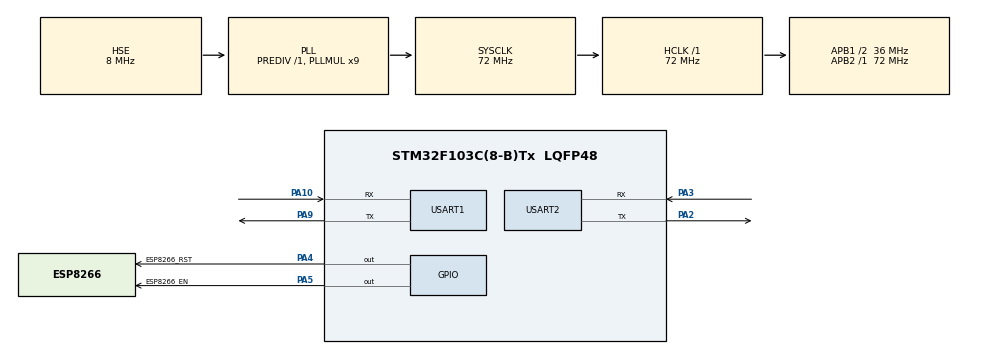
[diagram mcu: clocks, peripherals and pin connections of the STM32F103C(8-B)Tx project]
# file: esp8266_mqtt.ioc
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Dma.Request0=USART2_RX
Dma.Request1=USART2_TX
Dma.USART2_RX.0.Direction=DMA_PERIPH_TO_MEMORY
Dma.USART2_RX.0.Instance=DMA1_Channel6
Dma.USART2_RX.0.MemDataAlignment=DMA_MDATAALIGN_BYTE
Dma.USART2_RX.0.MemInc=DMA_MINC_ENABLE
Dma.USART2_RX.0.Mode=DMA_CIRCULAR
Dma.USART2_RX.0.PeriphDataAlignment=DMA_PDATAALIGN_BYTE
Dma.USART2_RX.0.PeriphInc=DMA_PINC_DISABLE
Dma.USART2_RX.0.Priority=DMA_PRIORITY_LOW
Dma.USART2_TX.1.Direction=DMA_MEMORY_TO_PERIPH
Dma.USART2_TX.1.Instance=DMA1_Channel7
Dma.USART2_TX.1.MemDataAlignment=DMA_MDATAALIGN_BYTE
Dma.USART2_TX.1.MemInc=DMA_MINC_ENABLE
Dma.USART2_TX.1.Mode=DMA_NORMAL
Dma.USART2_TX.1.PeriphDataAlignment=DMA_PDATAALIGN_BYTE
Dma.USART2_TX.1.PeriphInc=DMA_PINC_DISABLE
Dma.USART2_TX.1.Priority=DMA_PRIORITY_LOW
Mcu.Family=STM32F1
Mcu.Name=STM32F103C(8-B)Tx
Mcu.Package=LQFP48
NVIC.DMA1_Channel6_IRQn=true\:0\:0\:false\:false\:true\:false\:true\:true
NVIC.DMA1_Channel7_IRQn=true\:0\:0\:false\:false\:true\:false\:true\:true
NVIC.PriorityGroup=NVIC_PRIORITYGROUP_4
NVIC.USART2_IRQn=true\:0\:0\:false\:false\:true\:false\:true\:true
PA10.Mode=Asynchronous
PA10.Signal=USART1_RX
PA13.Mode=Serial_Wire
PA13.Signal=SYS_JTMS-SWDIO
PA14.Mode=Serial_Wire
PA14.Signal=SYS_JTCK-SWCLK
PA2.Mode=Asynchronous
PA2.Signal=USART2_TX
PA3.Mode=Asynchronous
PA3.Signal=USART2_RX
PA4.GPIO_Label=ESP8266_RST
PA4.GPIO_ModeDefaultOutputPP=GPIO_MODE_OUTPUT_OD
PA4.GPIO_PuPd=GPIO_PULLUP
PA4.PinState=GPIO_PIN_SET
PA4.Signal=GPIO_Output
PA5.GPIO_Label=ESP8266_EN
PA5.PinState=GPIO_PIN_SET
PA5.Signal=GPIO_Output
PA9.Mode=Asynchronous
PA9.Signal=USART1_TX
PC14-OSC32_IN.Mode=LSE-External-Oscillator
PC14-OSC32_IN.Signal=RCC_OSC32_IN
PC15-OSC32_OUT.Mode=LSE-External-Oscillator
PC15-OSC32_OUT.Signal=RCC_OSC32_OUT
PD0-OSC_IN.Mode=HSE-External-Oscillator
PD0-OSC_IN.Signal=RCC_OSC_IN
PD1-OSC_OUT.Mode=HSE-External-Oscillator
PD1-OSC_OUT.Signal=RCC_OSC_OUT
ProjectManager.HeapSize=0x200
ProjectManager.StackSize=0x400
ProjectManager.TargetToolchain=CMake
RCC.AHBFreq_Value=72000000
RCC.APB1CLKDivider=RCC_HCLK_DIV2
RCC.APB1Freq_Value=36000000
RCC.APB1TimFreq_Value=72000000
RCC.APB2Freq_Value=72000000
RCC.APB2TimFreq_Value=72000000
RCC.HCLKFreq_Value=72000000
RCC.PLLMUL=RCC_PLL_MUL9
RCC.PLLSourceVirtual=RCC_PLLSOURCE_HSE
RCC.SYSCLKFreq_VALUE=72000000
RCC.SYSCLKSource=RCC_SYSCLKSOURCE_PLLCLK
RCC.USBFreq_Value=72000000
USART1.VirtualMode=VM_ASYNC
USART2.VirtualMode=VM_ASYNC
board=custom

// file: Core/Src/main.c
/* USER CODE BEGIN Header */
/**
  ******************************************************************************
  * @file           : main.c
  * @brief          : Main program body
  ******************************************************************************
  * @attention
  *
  * Copyright (c) 2026 STMicroelectronics.
  * All rights reserved.
  *
  * This software is licensed under terms that can be found in the LICENSE file
  * in the root directory of this software component.
  * If no LICENSE file comes with this software, it is provided AS-IS.
  *
  ******************************************************************************
  */
/* USER CODE END Header */
#include "main.h"
#include "dma.h"
#include "usart.h"
#include "gpio.h"

/* USER CODE BEGIN Includes */
#include "stdio.h"
#include "usart_ring.h"
#include "esp8266_mqtt.h"
/* USER CODE END Includes */

void SystemClock_Config(void);

/* USER CODE BEGIN 0 */
USART_RING_S usart2_ring;
static uint8_t rx_buf[512];
static uint8_t tx_buf[256];

int _write(int file, char *ptr, int len)
{
  HAL_UART_Transmit(&huart1, (uint8_t*)ptr, len, HAL_MAX_DELAY);
  return len;
}
/* USER CODE END 0 */

int main(void)
{

  /* MCU Configuration--------------------------------------------------------*/

  /* Reset of all peripherals, Initializes the Flash interface and the Systick. */
  HAL_Init();

  /* Configure the system clock */
  SystemClock_Config();

  /* Initialize all configured peripherals */
  MX_GPIO_Init();
  MX_DMA_Init();
  MX_USART1_UART_Init();
  MX_USART2_UART_Init();
  /* USER CODE BEGIN 2 */
  USART_RING_CFG_S ucfg = {
    .huart        = &huart2,
    .rx_buf       = rx_buf,
    .rx_buf_size  = sizeof(rx_buf),
    .tx_buf       = tx_buf,
    .tx_buf_size  = sizeof(tx_buf),
    .baud_rate    = 115200
};
  USART_RING_Create(&usart2_ring, &ucfg);

  ESP8266_MQTT_S esp;
  ESP8266_MQTT_CONFIG_T cfg = {
    .usart_ring = &usart2_ring,
    .rst_port = ESP8266_RST_GPIO_Port, .rst_pin = ESP8266_RST_Pin,
    .ch_pd_port = ESP8266_EN_GPIO_Port, .ch_pd_pin = ESP8266_EN_Pin,
    .ssid = "phone", .password = "88888888",
    .mqtt_broker = "iot-06z00c72z2i9bqs.mqtt.iothub.aliyuncs.com",
    .mqtt_client_id = "k18uaCQagst.fireProtection|securemode=2\\,signmethod=hmacsha256\\,timestamp=1776868308198|",
    .mqtt_username = "fireProtection&k18uaCQagst",
    .mqtt_password = "71f7bed7147a66d9c2d68b16ea7c88d15b360d802f0390468fc2b5260e1e916e",
    .mqtt_pub_topic = "/sys/k18uaCQagst/fireProtection/thing/event/property/post",
    .mqtt_sub_topic = "/sys/k18uaCQagst/fireProtection/thing/event/property/post"
};
  HAL_Delay(2000);
  esp8266_mqtt_create(&esp, &cfg);
  /* USER CODE END 2 */

  /* Infinite loop */
  /* USER CODE BEGIN WHILE */
  while (1)
  {
    esp.recv(&esp);
    HAL_Delay(10);
    /* USER CODE END WHILE */

  }
}

void SystemClock_Config(void)
{
  RCC_OscInitTypeDef RCC_OscInitStruct = {0};
  RCC_ClkInitTypeDef RCC_ClkInitStruct = {0};

  /** Initializes the RCC Oscillators according to the specified parameters
  * in the RCC_OscInitTypeDef structure.
  */
  RCC_OscInitStruct.OscillatorType = RCC_OSCILLATORTYPE_HSE;
  RCC_OscInitStruct.HSEState = RCC_HSE_ON;
  RCC_OscInitStruct.HSEPredivValue = RCC_HSE_PREDIV_DIV1;
  RCC_OscInitStruct.HSIState = RCC_HSI_ON;
  RCC_OscInitStruct.PLL.PLLState = RCC_PLL_ON;
  RCC_OscInitStruct.PLL.PLLSource = RCC_PLLSOURCE_HSE;
  RCC_OscInitStruct.PLL.PLLMUL = RCC_PLL_MUL9;
  if (HAL_RCC_OscConfig(&RCC_OscInitStruct) != HAL_OK)
  {
    Error_Handler();
  }

  /** Initializes the CPU, AHB and APB buses clocks
  */
  RCC_ClkInitStruct.ClockType = RCC_CLOCKTYPE_HCLK|RCC_CLOCKTYPE_SYSCLK
                              |RCC_CLOCKTYPE_PCLK1|RCC_CLOCKTYPE_PCLK2;
  RCC_ClkInitStruct.SYSCLKSource = RCC_SYSCLKSOURCE_PLLCLK;
  RCC_ClkInitStruct.AHBCLKDivider = RCC_SYSCLK_DIV1;
  RCC_ClkInitStruct.APB1CLKDivider = RCC_HCLK_DIV2;
  RCC_ClkInitStruct.APB2CLKDivider = RCC_HCLK_DIV1;

  if (HAL_RCC_ClockConfig(&RCC_ClkInitStruct, FLASH_LATENCY_2) != HAL_OK)
  {
    Error_Handler();
  }
}

void Error_Handler(void)
{
  __disable_irq();
  while (1)
  {
  }
}
